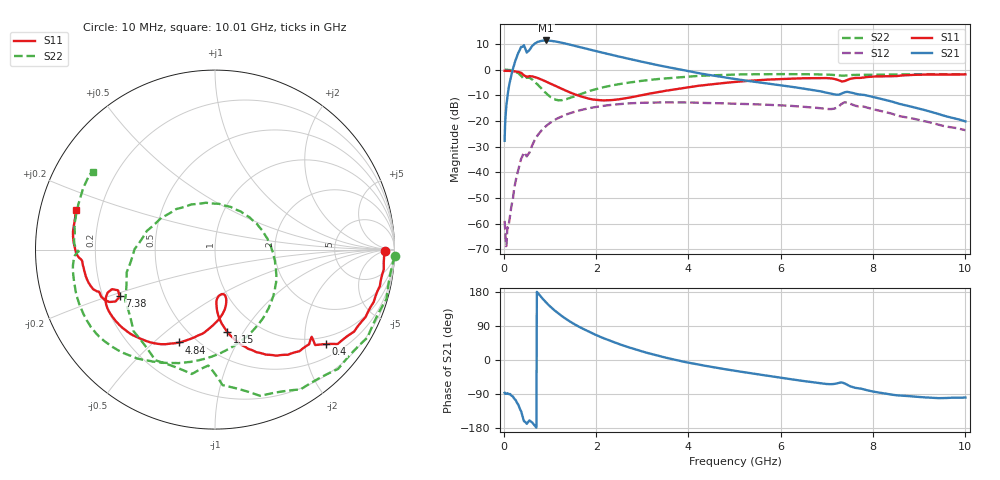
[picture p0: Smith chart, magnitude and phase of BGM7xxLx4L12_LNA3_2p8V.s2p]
! (c) 2014 Infineon Technologies AG
! BGM7xxLx4L12 - Silicon Germanium Quad-Band LTE LNA bank
! 20 May 2014
! Special Application Board
! C1 = L1 = 0 Ohm
! C2 = 100 nF
! Vcc = 2.8V
! RF input and output lines de-embedded
! Port 1 reference plane: LNA input AI (pin 1)
! Port 2 reference plane: LNA output AO (pin 4)
! Network Data:
! Measured BGM7xxLx4L12 device level s-parameters
# GHz S MA R 50
!Freq  MagS11  AngS11  MagS21  AngS21  MagS12  AngS12  MagS22  AngS22
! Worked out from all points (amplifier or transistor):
!   1001 points, 10 MHz to 10.01 GHz, reference 50 ohm
!   highest |S21| = 11.3 dB at 910 MHz (marker M1)
!   |S21| within 3 dB of that: 576.1 MHz to 1.736 GHz (1.16 GHz wide, 100 % of centre)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
!   unconditionally stable (mu >= 1): 12.09 MHz to end of sweep
!   at 1.67 GHz: K = 1.17, MAG = 9.7 dB, |S12| = -15.8 dB
!   at 5.01 GHz: K = 1.32, MAG = 1.5 dB, |S12| = -13.3 dB
!   at 10.01 GHz: K = 9.92, MAG = -11.2 dB, |S12| = -23.6 dB
!   lowest NFmin = 0.64 dB at 850 MHz
!   S11 on the Smith chart (normalised r, x): 10 MHz: 35, -6; 400 MHz: 0.80, -2.50; 1.15 GHz: 0.73, -0.85; 4.84 GHz: 0.41, -0.61; 7.38 GHz: 0.27, -0.22; 10.01 GHz: 0.11, +0.14
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0.01  0.946 -0.6  0.04087 -86.6  0.001126 -40.7  1.002 -2.1
0.08  0.9437 -7.6  0.3405 -88.8  0.0008164 120.6  0.9853 -18.3
0.23  0.9201 -22.2  1.363 -103.5  0.005487 -174.8  0.9165 -53.5
0.33  0.8835 -32.8  2.316 -125.3  0.01346 170.7  0.8117 -77.1
0.4  0.8131 -40.3  2.791 -149.2  0.02092 151.2  0.6982 -89.7
0.48  0.7325 -42.3  2.269 -166.7  0.02088 134.8  0.6942 -99.5
0.54  0.7401 -44.6  2.358 -160.8  0.02349 144.9  0.6952 -115.5
0.64  0.7221 -52.7  3.053 -169.6  0.03832 144.9  0.6 -142.3
0.77  0.6595 -62.7  3.542 171.0  0.05882 133.2  0.4625 -174.9
0.91  0.5826 -71.5  3.686 151.9  0.07962 120.2  0.3482 149.4
1.15  0.4624 -81.7  3.476 125.3  0.111 101.6  0.2562 85.1
1.37  0.3768 -86.7  3.139 106.1  0.1349 87.9  0.2685 35.2
1.68  0.297 -88.6  2.683 84.3  0.1636 72.4  0.3367 -9.4
1.98  0.2576 -84.9  2.307 66.7  0.1859 59.5  0.4125 -37.7
2.34  0.2544 -78.8  1.926 49.0  0.2056 46.3  0.4894 -62.3
3.35  0.3647 -83.8  1.21 10.9  0.2284 17.7  0.6537 -105.6
4.84  0.5543 -111.0  0.6897 -25.2  0.2185 -10.2  0.791 -137.6
5.01  0.5725 -114.1  0.654 -28.5  0.2159 -12.7  0.7988 -140.2
6.68  0.6815 -144.5  0.4016 -58.6  0.1825 -35.2  0.8061 -166.3
7.38  0.5917 -153.9  0.3595 -61.1  0.2288 -37.8  0.7606 -179.3
8.35  0.7411 -173.3  0.2462 -90.2  0.1432 -69.4  0.8025 161.4
10.01  0.8037 164.2  0.09755 -99.0  0.06573 -65.3  0.8069 147.4
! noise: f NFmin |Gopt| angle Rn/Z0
0.7  0.6756  0.4433  44.48  0.1698
0.75  0.6792  0.435  46.4  0.1603
0.8  0.6522  0.4356  49.05  0.1443
0.85  0.6396  0.4173  52.75  0.1406
0.9  0.6459  0.4215  54.23  0.1371
0.95  0.7124  0.3812  57.18  0.134
1  0.7119  0.3779  60.09  0.1351
